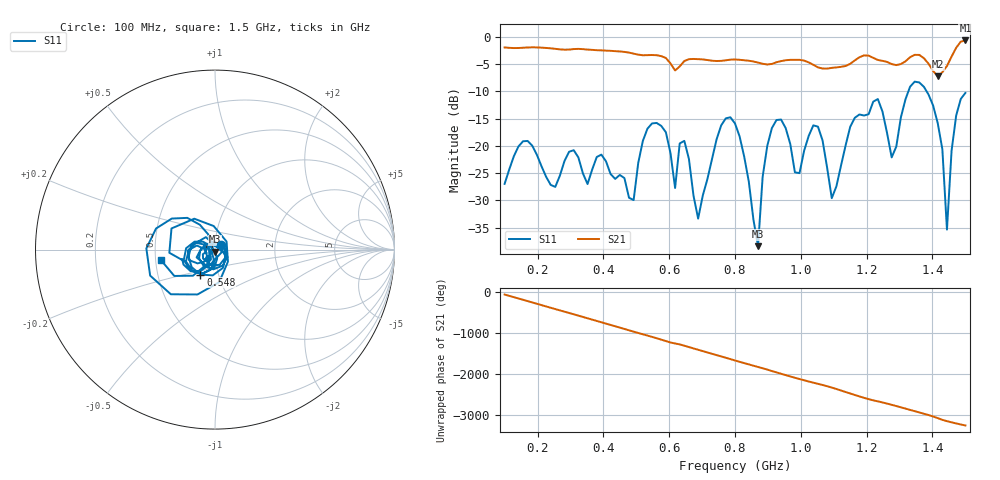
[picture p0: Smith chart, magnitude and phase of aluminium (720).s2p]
! NanoVNA-App
! Date: 2025-09-25 15:00:53
! Start: 100MHz Stop: 1,5GHz Points: 101
! S-Parameter data: F S11 S21 S12 S22
# Hz S RI R 50
!  Frequency  S11_Real  S11_Imag  S21_Real  S21_Imag  S12_Real  S12_Imag  S22_Real  S22_Imag
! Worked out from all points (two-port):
!   101 points, 100 MHz to 1.5 GHz, reference 50 ohm
!   highest |S21| = -0.64 dB at 1.5 GHz (marker M1); lowest = -7.2 dB at 1.416 GHz (marker M2)
!   |S21| within 3 dB of the highest: start of sweep to 581.1 MHz; 1.458 GHz to end of sweep (the widest 2 of 4)
!   lowest |S11| = -38.4 dB at 870 MHz (marker M3), VSWR 1.02, Z = 50.1 - j1.2 ohm
!   |S11| at or under -10 dB: start of sweep to 1.327 GHz; 1.382 GHz to end of sweep
!   S12 and S22 are empty: the file has one direction only
!   S11 on the Smith chart (normalised r, x): 100 MHz: 1.07, +0.06; 548 MHz: 0.82, -0.23; 1.5 GHz: 0.53, -0.07
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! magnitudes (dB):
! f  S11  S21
! 100 MHz  -27.0  -1.9
! 156 MHz  -19.1  -2.0
! 338 MHz  -25.0  -2.2
! 492 MHz  -29.9  -3.1
! 548 MHz  -15.9  -3.3
! 576 MHz  -16.3  -3.5
! 618 MHz  -27.7  -6.1
! 646 MHz  -19.1  -4.4
! 688 MHz  -33.3  -4.1
! 800 MHz  -15.9  -4.1
! 870 MHz  -38.4  -4.7
! 912 MHz  -16.7  -4.9
! 996 MHz  -25.0  -4.2
! 1.038 GHz  -16.2  -5.1
! 1.094 GHz  -29.6  -5.7
! 1.22 GHz  -11.9  -3.8
! 1.276 GHz  -22.1  -5.0
! 1.346 GHz  -8.2  -3.3
! 1.416 GHz  -15.8  -7.2
! 1.444 GHz  -35.3  -5.3
! 1.472 GHz  -14.4  -2.0
! 1.5 GHz  -10.3  -0.6
